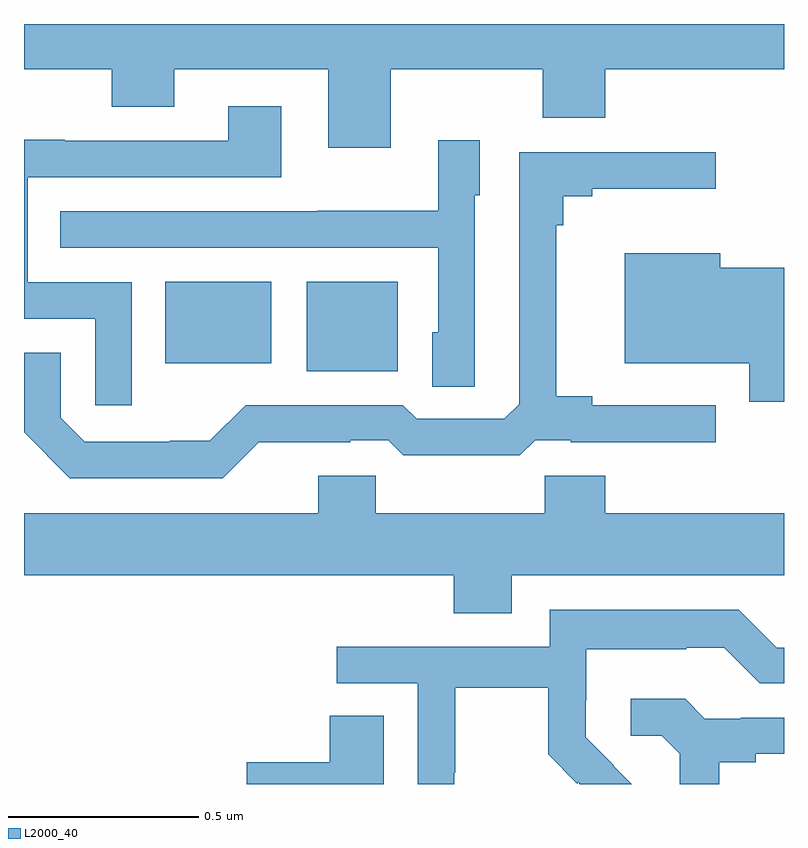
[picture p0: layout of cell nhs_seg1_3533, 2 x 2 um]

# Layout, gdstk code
import gdstk
lib = gdstk.Library(unit=1e-6, precision=1e-09)
def R(c, l, rs):  # rectangles x0, y0, x1, y1
    for r in rs: c.add(gdstk.rectangle(r[:2], r[2:], *l))
def P(c, l, *ps):  # polygons
    for p in ps: c.add(gdstk.Polygon(p, *l))
L2000_40 = (2000, 40)

nhs_seg1_3533 = lib.new_cell('nhs_seg1_3533')
R(nhs_seg1_3533, L2000_40, [(155.744,536.285,155.983,536.521), (155.372,536.306,155.65,536.521)])
P(nhs_seg1_3533, L2000_40, [(155.965,537.08),(156.365,537.08),(156.365,536.952),(156.529,536.952),(156.529,537.08),(157,537.08),(157,537.199),(155,537.199),(155,537.08),(155.231,537.08),(155.231,536.981),(155.395,536.981),(155.395,537.08),(155.801,537.08),(155.801,536.874),(155.965,536.874)],
  [(155.283,536.52),(155.01,536.52),(155.01,536.796),(155.677,536.796),(155.677,536.983),(155.537,536.983),(155.537,536.892),(155.107,536.892),(155.107,536.894),(155,536.894),(155,536.424),(155.187,536.424),(155.187,536.196),(155.283,536.196)],
  [(156.186,536.748),(156.199,536.748),(156.199,536.893),(156.09,536.893),(156.09,536.707),(155.773,536.707),(155.773,536.706),(155.095,536.706),(155.095,536.61),(156.09,536.61),(156.09,536.388),(156.074,536.388),(156.074,536.245),(156.186,536.245)],
  [(155.618,536.099),(155.858,536.099),(155.858,536.103),(155.958,536.103),(155.998,536.064),(156.305,536.064),(156.345,536.103),(156.439,536.103),(156.439,536.099),(156.82,536.099),(156.82,536.196),(156.496,536.196),(156.496,536.219),(156.401,536.219),(156.401,536.669),(156.419,536.669),(156.419,536.746),(156.496,536.746),(156.496,536.765),(156.82,536.765),(156.82,536.862),(156.303,536.862),(156.303,536.199),(156.264,536.16),(156.033,536.16),(155.997,536.196),(155.583,536.196),(155.489,536.102),(155.384,536.102),(155.384,536.1),(155.16,536.1),(155.097,536.163),(155.097,536.334),(155,536.334),(155,536.125),(155.12,536.004),(155.523,536.004)],
  [(157,536.557),(156.832,536.557),(156.832,536.596),(156.581,536.596),(156.581,536.306),(156.908,536.306),(156.908,536.205),(157,536.205)],
  [(156.283,535.748),(157,535.748),(157,535.912),(156.53,535.912),(156.53,536.01),(156.37,536.01),(156.37,535.912),(155.925,535.912),(155.925,536.01),(155.774,536.01),(155.774,535.912),(155,535.912),(155,535.748),(156.131,535.748),(156.131,535.649),(156.283,535.649)],
  [(156.132,535.228),(156.135,535.228),(156.135,535.452),(156.379,535.452),(156.379,535.277),(156.456,535.2),(156.459,535.203),(156.463,535.199),(156.599,535.199),(156.551,535.247),(156.552,535.248),(156.478,535.322),(156.478,535.419),(156.48,535.419),(156.48,535.553),(156.743,535.553),(156.743,535.557),(156.843,535.557),(156.936,535.464),(157,535.464),(157,535.557),(156.981,535.557),(156.881,535.657),(156.384,535.657),(156.384,535.56),(155.823,535.56),(155.823,535.464),(156.036,535.464),(156.036,535.199),(156.132,535.199)],
  [(156.829,535.256),(156.925,535.256),(156.925,535.278),(157,535.278),(157,535.374),(156.886,535.374),(156.886,535.371),(156.792,535.371),(156.74,535.423),(156.597,535.423),(156.597,535.326),(156.678,535.326),(156.725,535.279),(156.725,535.199),(156.829,535.199)],
  [(155.947,535.379),(155.804,535.379),(155.804,535.256),(155.586,535.256),(155.586,535.199),(155.947,535.199)])

lib.write_gds('nhs_seg1_3533.gds')
